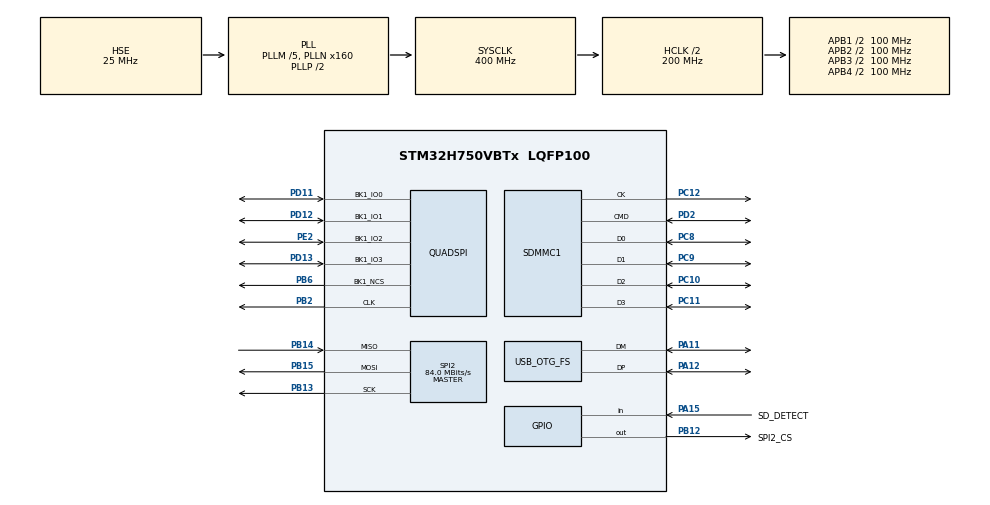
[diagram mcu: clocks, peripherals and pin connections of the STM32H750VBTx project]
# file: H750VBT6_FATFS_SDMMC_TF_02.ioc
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CORTEX_M7.AccessPermission-Cortex_Memory_Protection_Unit_Region0_Settings=MPU_REGION_FULL_ACCESS
CORTEX_M7.AccessPermission-Cortex_Memory_Protection_Unit_Region1_Settings=MPU_REGION_FULL_ACCESS
CORTEX_M7.AccessPermission-Cortex_Memory_Protection_Unit_Region2_Settings=MPU_REGION_FULL_ACCESS
CORTEX_M7.AccessPermission-Cortex_Memory_Protection_Unit_Region3_Settings=MPU_REGION_FULL_ACCESS
CORTEX_M7.AccessPermission-Cortex_Memory_Protection_Unit_Region4_Settings=MPU_REGION_FULL_ACCESS
CORTEX_M7.AccessPermission-Cortex_Memory_Protection_Unit_Region5_Settings=MPU_REGION_FULL_ACCESS
CORTEX_M7.AccessPermission-Cortex_Memory_Protection_Unit_Region6_Settings=MPU_REGION_FULL_ACCESS
CORTEX_M7.BaseAddress-Cortex_Memory_Protection_Unit_Region0_Settings=0x24000000
CORTEX_M7.BaseAddress-Cortex_Memory_Protection_Unit_Region1_Settings=0x60000000
CORTEX_M7.BaseAddress-Cortex_Memory_Protection_Unit_Region2_Settings=0x30000000
CORTEX_M7.BaseAddress-Cortex_Memory_Protection_Unit_Region3_Settings=0x30020000
CORTEX_M7.BaseAddress-Cortex_Memory_Protection_Unit_Region4_Settings=0x30040000
CORTEX_M7.BaseAddress-Cortex_Memory_Protection_Unit_Region5_Settings=0x38000000
CORTEX_M7.BaseAddress-Cortex_Memory_Protection_Unit_Region6_Settings=0x90000000
CORTEX_M7.CPU_DCache=Enabled
CORTEX_M7.CPU_ICache=Enabled
CORTEX_M7.Enable-Cortex_Memory_Protection_Unit_Region0_Settings=MPU_REGION_ENABLE
CORTEX_M7.Enable-Cortex_Memory_Protection_Unit_Region1_Settings=MPU_REGION_ENABLE
CORTEX_M7.Enable-Cortex_Memory_Protection_Unit_Region2_Settings=MPU_REGION_ENABLE
CORTEX_M7.Enable-Cortex_Memory_Protection_Unit_Region3_Settings=MPU_REGION_ENABLE
CORTEX_M7.Enable-Cortex_Memory_Protection_Unit_Region4_Settings=MPU_REGION_ENABLE
CORTEX_M7.Enable-Cortex_Memory_Protection_Unit_Region5_Settings=MPU_REGION_ENABLE
CORTEX_M7.Enable-Cortex_Memory_Protection_Unit_Region6_Settings=MPU_REGION_ENABLE
CORTEX_M7.IsBufferable-Cortex_Memory_Protection_Unit_Region0_Settings=MPU_ACCESS_BUFFERABLE
CORTEX_M7.IsBufferable-Cortex_Memory_Protection_Unit_Region1_Settings=MPU_ACCESS_BUFFERABLE
CORTEX_M7.IsBufferable-Cortex_Memory_Protection_Unit_Region6_Settings=MPU_ACCESS_BUFFERABLE
CORTEX_M7.IsCacheable-Cortex_Memory_Protection_Unit_Region0_Settings=MPU_ACCESS_CACHEABLE
CORTEX_M7.IsCacheable-Cortex_Memory_Protection_Unit_Region2_Settings=MPU_ACCESS_CACHEABLE
CORTEX_M7.IsCacheable-Cortex_Memory_Protection_Unit_Region3_Settings=MPU_ACCESS_CACHEABLE
CORTEX_M7.IsCacheable-Cortex_Memory_Protection_Unit_Region4_Settings=MPU_ACCESS_CACHEABLE
CORTEX_M7.IsCacheable-Cortex_Memory_Protection_Unit_Region5_Settings=MPU_ACCESS_CACHEABLE
CORTEX_M7.IsCacheable-Cortex_Memory_Protection_Unit_Region6_Settings=MPU_ACCESS_CACHEABLE
CORTEX_M7.MPU_Control=MPU_PRIVILEGED_DEFAULT
CORTEX_M7.Size-Cortex_Memory_Protection_Unit_Region0_Settings=MPU_REGION_SIZE_512KB
CORTEX_M7.Size-Cortex_Memory_Protection_Unit_Region1_Settings=MPU_REGION_SIZE_256MB
CORTEX_M7.Size-Cortex_Memory_Protection_Unit_Region2_Settings=MPU_REGION_SIZE_128KB
CORTEX_M7.Size-Cortex_Memory_Protection_Unit_Region3_Settings=MPU_REGION_SIZE_128KB
CORTEX_M7.Size-Cortex_Memory_Protection_Unit_Region4_Settings=MPU_REGION_SIZE_32KB
CORTEX_M7.Size-Cortex_Memory_Protection_Unit_Region5_Settings=MPU_REGION_SIZE_64KB
CORTEX_M7.Size-Cortex_Memory_Protection_Unit_Region6_Settings=MPU_REGION_SIZE_8MB
CORTEX_M7.TypeExtField-Cortex_Memory_Protection_Unit_Region0_Settings=MPU_TEX_LEVEL1
CORTEX_M7.TypeExtField-Cortex_Memory_Protection_Unit_Region6_Settings=MPU_TEX_LEVEL1
Dma.Request0=SPI2_RX
Dma.Request1=SPI2_TX
Dma.SPI2_RX.0.Direction=DMA_PERIPH_TO_MEMORY
Dma.SPI2_RX.0.EventEnable=DISABLE
Dma.SPI2_RX.0.FIFOMode=DMA_FIFOMODE_DISABLE
Dma.SPI2_RX.0.Instance=DMA1_Stream0
Dma.SPI2_RX.0.MemDataAlignment=DMA_MDATAALIGN_BYTE
Dma.SPI2_RX.0.MemInc=DMA_MINC_ENABLE
Dma.SPI2_RX.0.Mode=DMA_NORMAL
Dma.SPI2_RX.0.PeriphDataAlignment=DMA_PDATAALIGN_BYTE
Dma.SPI2_RX.0.PeriphInc=DMA_PINC_DISABLE
Dma.SPI2_RX.0.Polarity=HAL_DMAMUX_REQ_GEN_RISING
Dma.SPI2_RX.0.Priority=DMA_PRIORITY_VERY_HIGH
Dma.SPI2_RX.0.RequestNumber=1
Dma.SPI2_RX.0.SignalID=NONE
Dma.SPI2_RX.0.SyncEnable=DISABLE
Dma.SPI2_RX.0.SyncPolarity=HAL_DMAMUX_SYNC_NO_EVENT
Dma.SPI2_RX.0.SyncRequestNumber=1
Dma.SPI2_RX.0.SyncSignalID=NONE
Dma.SPI2_TX.1.Direction=DMA_MEMORY_TO_PERIPH
Dma.SPI2_TX.1.EventEnable=DISABLE
Dma.SPI2_TX.1.FIFOMode=DMA_FIFOMODE_DISABLE
Dma.SPI2_TX.1.Instance=DMA1_Stream1
Dma.SPI2_TX.1.MemDataAlignment=DMA_MDATAALIGN_BYTE
Dma.SPI2_TX.1.MemInc=DMA_MINC_ENABLE
Dma.SPI2_TX.1.Mode=DMA_NORMAL
Dma.SPI2_TX.1.PeriphDataAlignment=DMA_PDATAALIGN_BYTE
Dma.SPI2_TX.1.PeriphInc=DMA_PINC_DISABLE
Dma.SPI2_TX.1.Polarity=HAL_DMAMUX_REQ_GEN_RISING
Dma.SPI2_TX.1.Priority=DMA_PRIORITY_VERY_HIGH
Dma.SPI2_TX.1.RequestNumber=1
Dma.SPI2_TX.1.SignalID=NONE
Dma.SPI2_TX.1.SyncEnable=DISABLE
Dma.SPI2_TX.1.SyncPolarity=HAL_DMAMUX_SYNC_NO_EVENT
Dma.SPI2_TX.1.SyncRequestNumber=1
Dma.SPI2_TX.1.SyncSignalID=NONE
FATFS.BSP.number=1
FATFS._CODE_PAGE=936
FATFS._USE_LFN=2
FATFS._USE_MUTEX=0
FATFS0.BSP.STBoard=false
FATFS0.BSP.api=Unknown
FATFS0.BSP.instance=PA15 (JTDI)
FATFS0.BSP.ip=GPIO
FATFS0.BSP.mode=Input
FATFS0.BSP.name=Detect_SDIO
FATFS0.BSP.solution=PA15 (JTDI)
FREERTOS.INCLUDE_vTaskDelayUntil=1
FREERTOS.Tasks01=defaultTask,24,512,StartDefaultTask,Default,NULL,Dynamic,NULL,NULL
FREERTOS.configGENERATE_RUN_TIME_STATS=1
FREERTOS.configMAX_TASK_NAME_LEN=32
FREERTOS.configTOTAL_HEAP_SIZE=65536
FREERTOS.configUSE_NEWLIB_REENTRANT=1
FREERTOS.configUSE_STATS_FORMATTING_FUNCTIONS=1
FREERTOS.copyHeapFile=0
Mcu.Family=STM32H7
Mcu.Name=STM32H750VBTx
Mcu.Package=LQFP100
Mcu.UserConstants=QSPI_FLASH_SIZE_2N_OFFSET,0
NVIC.DMA1_Stream0_IRQn=true\:5\:0\:false\:false\:true\:true\:false\:true\:true
NVIC.DMA1_Stream1_IRQn=true\:5\:0\:false\:false\:true\:true\:false\:true\:true
NVIC.OTG_FS_IRQn=true\:5\:0\:false\:false\:true\:true\:false\:true\:true
NVIC.PriorityGroup=NVIC_PRIORITYGROUP_4
NVIC.SDMMC1_IRQn=true\:5\:0\:false\:false\:true\:true\:true\:true\:true
NVIC.SPI2_IRQn=true\:5\:0\:false\:false\:true\:true\:false\:true\:true
NVIC.TIM3_IRQn=true\:14\:0\:true\:false\:true\:true\:true\:true\:true
NVIC.TIM6_DAC_IRQn=true\:15\:0\:true\:false\:true\:false\:true\:true\:true
NVIC.TIM7_IRQn=true\:0\:0\:true\:false\:true\:false\:true\:true\:true
NVIC.TimeBase=TIM6_DAC_IRQn
NVIC.TimeBaseIP=TIM6
PA11.GPIO_Speed=GPIO_SPEED_FREQ_VERY_HIGH
PA11.Mode=Device_Only
PA11.Signal=USB_OTG_FS_DM
PA12.GPIO_Speed=GPIO_SPEED_FREQ_VERY_HIGH
PA12.Mode=Device_Only
PA12.Signal=USB_OTG_FS_DP
PA13\ (JTMS/SWDIO).Mode=Serial_Wire
PA13\ (JTMS/SWDIO).Signal=DEBUG_JTMS-SWDIO
PA14\ (JTCK/SWCLK).Mode=Serial_Wire
PA14\ (JTCK/SWCLK).Signal=DEBUG_JTCK-SWCLK
PA15\ (JTDI).GPIO_Label=SD_DETECT
PA15\ (JTDI).Signal=GPIO_Input
PB12.GPIO_Label=SPI2_CS
PB12.GPIO_ModeDefaultOutputPP=GPIO_MODE_OUTPUT_OD
PB12.GPIO_PuPd=GPIO_NOPULL
PB12.GPIO_Speed=GPIO_SPEED_FREQ_VERY_HIGH
PB12.PinState=GPIO_PIN_SET
PB12.Signal=GPIO_Output
PB13.GPIO_Speed=GPIO_SPEED_FREQ_VERY_HIGH
PB13.Mode=Full_Duplex_Master
PB13.Signal=SPI2_SCK
PB14.GPIO_Speed=GPIO_SPEED_FREQ_VERY_HIGH
PB14.Mode=Full_Duplex_Master
PB14.Signal=SPI2_MISO
PB15.GPIO_Speed=GPIO_SPEED_FREQ_VERY_HIGH
PB15.Mode=Full_Duplex_Master
PB15.Signal=SPI2_MOSI
PB2.Mode=Single Bank 1
PB2.Signal=QUADSPI_CLK
PB6.Mode=Single Bank 1
PB6.Signal=QUADSPI_BK1_NCS
PC10.Mode=SD_4_bits_Wide_bus
PC10.Signal=SDMMC1_D2
PC11.Mode=SD_4_bits_Wide_bus
PC11.Signal=SDMMC1_D3
PC12.Mode=SD_4_bits_Wide_bus
PC12.Signal=SDMMC1_CK
PC8.Mode=SD_4_bits_Wide_bus
PC8.Signal=SDMMC1_D0
PC9.Mode=SD_4_bits_Wide_bus
PC9.Signal=SDMMC1_D1
PD11.Mode=Single Bank 1
PD11.Signal=QUADSPI_BK1_IO0
PD12.Mode=Single Bank 1
PD12.Signal=QUADSPI_BK1_IO1
PD13.Mode=Single Bank 1
PD13.Signal=QUADSPI_BK1_IO3
PD2.Mode=SD_4_bits_Wide_bus
PD2.Signal=SDMMC1_CMD
PE2.Mode=Single Bank 1
PE2.Signal=QUADSPI_BK1_IO2
PH0-OSC_IN\ (PH0).Mode=HSE-External-Oscillator
PH0-OSC_IN\ (PH0).Signal=RCC_OSC_IN
PH1-OSC_OUT\ (PH1).Mode=HSE-External-Oscillator
PH1-OSC_OUT\ (PH1).Signal=RCC_OSC_OUT
ProjectManager.HeapSize=0x1000
ProjectManager.StackSize=0x1000
ProjectManager.TargetToolchain=STM32CubeIDE
QUADSPI.ChipSelectHighTime=QSPI_CS_HIGH_TIME_2_CYCLE
QUADSPI.ClockPrescaler=1
QUADSPI.FifoThreshold=32
QUADSPI.FlashSize=QSPI_FLASH_SIZE_2N_OFFSET
QUADSPI.SampleShifting=QSPI_SAMPLE_SHIFTING_HALFCYCLE
RCC.ADCFreq_Value=168000000
RCC.APB1Freq_Value=100000000
RCC.APB2Freq_Value=100000000
RCC.APB3Freq_Value=100000000
RCC.APB4Freq_Value=100000000
RCC.CECCLockSelection=RCC_CECCLKSOURCE_LSI
RCC.CKPERSourceSelection=RCC_CLKPSOURCE_HSE
RCC.CSI_VALUE=4000000
RCC.CortexFreq_Value=400000000
RCC.Cortex_Div=SYSTICK_CLKSOURCE_HCLK
RCC.Cortex_DivARG=SystemCoreClock/1000
RCC.D1PPRE=RCC_APB3_DIV2
RCC.D2PPRE1=RCC_APB1_DIV2
RCC.D2PPRE2=RCC_APB2_DIV2
RCC.D3PPRE=RCC_APB4_DIV2
RCC.DFSDMCLockSelection=RCC_DFSDM1CLKSOURCE_D2PCLK1
RCC.DIVM1=5
RCC.DIVM2=25
RCC.DIVM3=25
RCC.DIVN1=160
RCC.DIVN2=504
RCC.DIVN3=160
RCC.DIVP1=2
RCC.DIVP2=3
RCC.DIVP3=2
RCC.DIVQ1=4
RCC.DIVQ2=2
RCC.DIVR1=2
RCC.DIVR2=2
RCC.DIVR3=25
RCC.DSICLockSelection=RCC_DSICLKSOURCE_PHY
RCC.DSIPHY_Div=8
RCC.DSITX_Div=4
RCC.DSI_PHY_VALUE=12288000
RCC.EXTERNAL_CLOCK_VALUE=12288000
RCC.FDCANCLockSelection=RCC_FDCANCLKSOURCE_PLL
RCC.FMCCLockSelection=RCC_FMCCLKSOURCE_D1HCLK
RCC.HCLKFreq_Value=200000000
RCC.HPRE=RCC_HCLK_DIV2
RCC.HSE_VALUE=25000000
RCC.HSIDiv=RCC_PLLSAIDIVR_1
RCC.HSI_VALUE=64000000
RCC.I2C123CLockSelection=RCC_I2C123CLKSOURCE_D2PCLK1
RCC.I2C4CLockSelection=RCC_I2C4CLKSOURCE_D3PCLK1
RCC.LPTIM1CLockSelection=RCC_LPTIM1CLKSOURCE_PLL3
RCC.LPTIM2CLockSelection=RCC_LPTIM2CLKSOURCE_D3PCLK1
RCC.LPTIM345CLockSelection=RCC_LPTIM345CLKSOURCE_PLL3
RCC.LPUART1CLockSelection=RCC_LPUART1CLKSOURCE_D3PCLK1
RCC.PLL1_VCI_Range-AdvancedSettings=RCC_PLL1VCIRANGE_0
RCC.PLL1_VCO_SEL-AdvancedSettings=RCC_PLL1VCOWIDE
RCC.PLLDSIDev=2
RCC.PLLDSIIDF=DSI_PLL_IN_DIV1
RCC.PLLDSIMult=2
RCC.PLLDSINDIV=20
RCC.PLLDSIODF=DSI_PLL_OUT_DIV1
RCC.PLLSourceVirtual=RCC_PLLSOURCE_HSE
RCC.RC48_VALUE=48000000
RCC.RCC_MCO1Source=RCC_MCO1SOURCE_HSI
RCC.RCC_MCO2Source=RCC_MCO2SOURCE_SYSCLK
RCC.RCC_MCODiv1=RCC_MCODIV_1
RCC.RCC_MCODiv2=RCC_MCODIV_1
RCC.RCC_RTC_Clock_Source_FROM_HSE=RCC_RTCCLKSOURCE_HSE_DIV2
RCC.RNGCLockSelection=RCC_RNGCLKSOURCE_HSI48
RCC.SAI1CLockSelection=RCC_SAI1CLKSOURCE_PLL
RCC.SAI23CLockSelection=RCC_SAI23CLKSOURCE_PLL
RCC.SAI4ACLockSelection=RCC_SAI4ACLKSOURCE_PLL
RCC.SAI4BCLockSelection=RCC_SAI4BCLKSOURCE_PLL
RCC.SPDIFCLockSelection=RCC_SPDIFRXCLKSOURCE_PLL
RCC.SPI123CLockSelection=RCC_SPI123CLKSOURCE_PLL2
RCC.SPI6CLockSelection=RCC_SPI6CLKSOURCE_D3PCLK1
RCC.SWPCLockSelection=RCC_SWPMI1CLKSOURCE_D2PCLK1
RCC.SYSCLKFreq_VALUE=400000000
RCC.SYSCLKSource=RCC_SYSCLKSOURCE_PLLCLK
RCC.Spi45ClockSelection=RCC_SPI45CLKSOURCE_D2PCLK1
RCC.USART16CLockSelection=RCC_USART16CLKSOURCE_D2PCLK2
RCC.USART234578CLockSelection=RCC_USART234578CLKSOURCE_D2PCLK1
RCC.USBCLockSelection=RCC_USBCLKSOURCE_HSI48
RCC.USBFreq_Value=48000000
SDMMC1.ClockDiv=4
SPI2.BaudRatePrescaler=SPI_BAUDRATEPRESCALER_2
SPI2.CalculateBaudRate=84.0 MBits/s
SPI2.DataSize=SPI_DATASIZE_8BIT
SPI2.Direction=SPI_DIRECTION_2LINES
SPI2.Mode=SPI_MODE_MASTER
SPI2.VirtualType=VM_MASTER
TIM3.AutoReloadPreload=TIM_AUTORELOAD_PRELOAD_ENABLE
TIM3.Channel-Output\ Compare1\ No\ Output=TIM_CHANNEL_1
TIM3.Channel-Output\ Compare2\ No\ Output=TIM_CHANNEL_2
TIM3.Channel-Output\ Compare3\ No\ Output=TIM_CHANNEL_3
TIM3.Channel-Output\ Compare4\ No\ Output=TIM_CHANNEL_4
TIM3.OC1Preload=DISABLE
TIM3.OCMode_1=TIM_OCMODE_TOGGLE
TIM3.OCMode_2=TIM_OCMODE_TIMING
TIM3.OCMode_3=TIM_OCMODE_TIMING
TIM3.OCMode_4=TIM_OCMODE_TIMING
TIM7.AutoReloadPreload=TIM_AUTORELOAD_PRELOAD_DISABLE
TIM7.Period=50- 1
TIM7.Prescaler=200 - 1
USB_DEVICE.APP_RX_DATA_SIZE-CDC_FS=2048
USB_DEVICE.APP_TX_DATA_SIZE-CDC_FS=2048
USB_DEVICE.CLASS_NAME_FS=CDC
USB_DEVICE.VirtualMode-CDC_FS=Cdc
USB_DEVICE.VirtualModeFS=Cdc_FS
USB_OTG_FS.VirtualMode=Device_Only
VP_FATFS_VS_SDIO.Mode=SDIO
VP_FREERTOS_VS_CMSIS_V2.Mode=CMSIS_V2
VP_SYS_VS_tim6.Mode=TIM6
VP_TIM3_VS_no_output1.Mode=Output Compare1 No Output
VP_TIM3_VS_no_output2.Mode=Output Compare2 No Output
VP_TIM3_VS_no_output3.Mode=Output Compare3 No Output
VP_TIM3_VS_no_output4.Mode=Output Compare4 No Output
VP_TIM7_VS_ClockSourceINT.Mode=Enable_Timer
VP_USB_DEVICE_VS_USB_DEVICE_CDC_FS.Mode=CDC_FS
board=custom

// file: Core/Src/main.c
/* USER CODE BEGIN Header */
/**
  ******************************************************************************
  * @file           : main.c
  * @brief          : Main program body
  ******************************************************************************
  * @attention
  *
  * <h2><center>&copy; Copyright (c) 2022 STMicroelectronics.
  * All rights reserved.</center></h2>
  *
  * This software component is licensed by ST under BSD 3-Clause license,
  * the "License"; You may not use this file except in compliance with the
  * License. You may obtain a copy of the License at:
  *                        opensource.org/licenses/BSD-3-Clause
  *
  ******************************************************************************
  */
/* USER CODE END Header */
#include "main.h"
#include "cmsis_os.h"
#include "dma.h"
#include "fatfs.h"
#include "sdmmc.h"
#include "spi.h"
#include "tim.h"
#include "usb_device.h"
#include "gpio.h"

/* USER CODE BEGIN Includes */
#include "usbd_cdc_if.h"
/* USER CODE END Includes */

void SystemClock_Config(void);
static void MPU_Config(void);
void MX_FREERTOS_Init(void);

int main(void)
{
  /* USER CODE BEGIN 1 */
  /* Operation interrupt vector table begin ----------------------------------*/
//#define INTERNAL_FLASH_BOOTLOADER_JUMP_TO_QSPI_FLASH_APP

#if defined(INTERNAL_FLASH_BOOTLOADER_JUMP_TO_QSPI_FLASH_APP)
	/** 将当前使用的内部flash里的中断向量表改为外部QSPI Flash里的中断向量�??
	  * Change the currently used interrupt vector table in the internal flash
	  * to the interrupt vector table in the external QSPI Flash
	  */
	SCB->VTOR = (uint32_t *)QSPI_BASE;
#endif

//#define COPY_VECTORTABLE_TO_DTCM

#if defined(COPY_VECTORTABLE_TO_DTCM)
#if defined(INTERNAL_FLASH_BOOTLOADER_JUMP_TO_QSPI_FLASH_APP)
	uint32_t *SouceAddr = (uint32_t *)QSPI_BASE;
#else
	uint32_t *SouceAddr = (uint32_t *)FLASH_BANK1_BASE;
#endif
	uint32_t *DestAddr = (uint32_t *)D1_DTCMRAM_BASE;
	memcpy(DestAddr, SouceAddr, 0x400);

	/** 设置当前的中断向量表�?? ITCM 里复制好的中断向量表副本
	  * Set the current interrupt vector table as a copy of the copied interrupt
	  * vector table in ITCM
	  */
	SCB->VTOR = D1_DTCMRAM_BASE;
#endif
  /* Operation interrupt vector table end ------------------------------------*/

  /* USER CODE END 1 */

  /* MPU Configuration--------------------------------------------------------*/
  MPU_Config();

  /* Enable I-Cache---------------------------------------------------------*/
  SCB_EnableICache();

  /* Enable D-Cache---------------------------------------------------------*/
  SCB_EnableDCache();

  /* MCU Configuration--------------------------------------------------------*/

  /* Reset of all peripherals, Initializes the Flash interface and the Systick. */
  HAL_Init();

  /* USER CODE BEGIN Init */
  USB_Status_Init();
  /* USER CODE END Init */

  /* Configure the system clock */
  SystemClock_Config();

  /* Initialize all configured peripherals */
  MX_GPIO_Init();
  MX_DMA_Init();
  MX_TIM3_Init();
  MX_TIM7_Init();
  MX_SPI2_Init();
  MX_SDMMC1_SD_Init();
  MX_FATFS_Init();

  /* Init scheduler */
  osKernelInitialize();  /* Call init function for freertos objects (in freertos.c) */
  MX_FREERTOS_Init();

  /* Start scheduler */
  osKernelStart();

  /* We should never get here as control is now taken by the scheduler */
  /* Infinite loop */
  while (1)
  {

  }
}

void SystemClock_Config(void)
{
  RCC_OscInitTypeDef RCC_OscInitStruct = {0};
  RCC_ClkInitTypeDef RCC_ClkInitStruct = {0};

  /** Supply configuration update enable
  */
  HAL_PWREx_ConfigSupply(PWR_LDO_SUPPLY);

  /** Configure the main internal regulator output voltage
  */
  __HAL_PWR_VOLTAGESCALING_CONFIG(PWR_REGULATOR_VOLTAGE_SCALE1);

  while(!__HAL_PWR_GET_FLAG(PWR_FLAG_VOSRDY)) {}

  /** Macro to configure the PLL clock source
  */
  __HAL_RCC_PLL_PLLSOURCE_CONFIG(RCC_PLLSOURCE_HSE);

  /** Initializes the RCC Oscillators according to the specified parameters
  * in the RCC_OscInitTypeDef structure.
  */
  RCC_OscInitStruct.OscillatorType = RCC_OSCILLATORTYPE_HSI48|RCC_OSCILLATORTYPE_HSE;
  RCC_OscInitStruct.HSEState = RCC_HSE_ON;
  RCC_OscInitStruct.HSI48State = RCC_HSI48_ON;
  RCC_OscInitStruct.PLL.PLLState = RCC_PLL_ON;
  RCC_OscInitStruct.PLL.PLLSource = RCC_PLLSOURCE_HSE;
  RCC_OscInitStruct.PLL.PLLM = 5;
  RCC_OscInitStruct.PLL.PLLN = 160;
  RCC_OscInitStruct.PLL.PLLP = 2;
  RCC_OscInitStruct.PLL.PLLQ = 4;
  RCC_OscInitStruct.PLL.PLLR = 2;
  RCC_OscInitStruct.PLL.PLLRGE = RCC_PLL1VCIRANGE_2;
  RCC_OscInitStruct.PLL.PLLVCOSEL = RCC_PLL1VCOWIDE;
  RCC_OscInitStruct.PLL.PLLFRACN = 0;
  if (HAL_RCC_OscConfig(&RCC_OscInitStruct) != HAL_OK)
  {
    Error_Handler();
  }

  /** Initializes the CPU, AHB and APB buses clocks
  */
  RCC_ClkInitStruct.ClockType = RCC_CLOCKTYPE_HCLK|RCC_CLOCKTYPE_SYSCLK
                              |RCC_CLOCKTYPE_PCLK1|RCC_CLOCKTYPE_PCLK2
                              |RCC_CLOCKTYPE_D3PCLK1|RCC_CLOCKTYPE_D1PCLK1;
  RCC_ClkInitStruct.SYSCLKSource = RCC_SYSCLKSOURCE_PLLCLK;
  RCC_ClkInitStruct.SYSCLKDivider = RCC_SYSCLK_DIV1;
  RCC_ClkInitStruct.AHBCLKDivider = RCC_HCLK_DIV2;
  RCC_ClkInitStruct.APB3CLKDivider = RCC_APB3_DIV2;
  RCC_ClkInitStruct.APB1CLKDivider = RCC_APB1_DIV2;
  RCC_ClkInitStruct.APB2CLKDivider = RCC_APB2_DIV2;
  RCC_ClkInitStruct.APB4CLKDivider = RCC_APB4_DIV2;

  if (HAL_RCC_ClockConfig(&RCC_ClkInitStruct, FLASH_LATENCY_2) != HAL_OK)
  {
    Error_Handler();
  }
}

/* USER CODE BEGIN 4 */
volatile uint8_t tim17_transmissionReceived = 0;
volatile uint32_t ulHighFrequencyTimerTicks = 0UL;  /* FreeRTOS variables for statistical CPU utilization */

void configureTimerForRunTimeStats(void) {
	ulHighFrequencyTimerTicks = 0UL;
}

unsigned long getRunTimeCounterValue(void) {
	return ulHighFrequencyTimerTicks;
}

void _Error_Handler(const char * file, uint32_t line)
{
  /* USER CODE BEGIN Error_Handler_Debug */
  /* User can add his own implementation to report the HAL error return state */
  __disable_irq();
  while (1)
  {
  }
  /* USER CODE END Error_Handler_Debug */
}
/* USER CODE END 4 */

/* MPU Configuration */

void MPU_Config(void)
{
  MPU_Region_InitTypeDef MPU_InitStruct = {0};

  /* Disables the MPU */
  HAL_MPU_Disable();

  /** Initializes and configures the Region and the memory to be protected
  */
  MPU_InitStruct.Enable = MPU_REGION_ENABLE;
  MPU_InitStruct.Number = MPU_REGION_NUMBER0;
  MPU_InitStruct.BaseAddress = 0x24000000;
  MPU_InitStruct.Size = MPU_REGION_SIZE_512KB;
  MPU_InitStruct.SubRegionDisable = 0x0;
  MPU_InitStruct.TypeExtField = MPU_TEX_LEVEL1;
  MPU_InitStruct.AccessPermission = MPU_REGION_FULL_ACCESS;
  MPU_InitStruct.DisableExec = MPU_INSTRUCTION_ACCESS_ENABLE;
  MPU_InitStruct.IsShareable = MPU_ACCESS_NOT_SHAREABLE;
  MPU_InitStruct.IsCacheable = MPU_ACCESS_CACHEABLE;
  MPU_InitStruct.IsBufferable = MPU_ACCESS_BUFFERABLE;

  HAL_MPU_ConfigRegion(&MPU_InitStruct);

  /** Initializes and configures the Region and the memory to be protected
  */
  MPU_InitStruct.Number = MPU_REGION_NUMBER1;
  MPU_InitStruct.BaseAddress = 0x60000000;
  MPU_InitStruct.Size = MPU_REGION_SIZE_256MB;
  MPU_InitStruct.TypeExtField = MPU_TEX_LEVEL0;
  MPU_InitStruct.IsCacheable = MPU_ACCESS_NOT_CACHEABLE;

  HAL_MPU_ConfigRegion(&MPU_InitStruct);

  /** Initializes and configures the Region and the memory to be protected
  */
  MPU_InitStruct.Number = MPU_REGION_NUMBER2;
  MPU_InitStruct.BaseAddress = 0x30000000;
  MPU_InitStruct.Size = MPU_REGION_SIZE_128KB;
  MPU_InitStruct.IsCacheable = MPU_ACCESS_CACHEABLE;
  MPU_InitStruct.IsBufferable = MPU_ACCESS_NOT_BUFFERABLE;

  HAL_MPU_ConfigRegion(&MPU_InitStruct);

  /** Initializes and configures the Region and the memory to be protected
  */
  MPU_InitStruct.Number = MPU_REGION_NUMBER3;
  MPU_InitStruct.BaseAddress = 0x30020000;

  HAL_MPU_ConfigRegion(&MPU_InitStruct);

  /** Initializes and configures the Region and the memory to be protected
  */
  MPU_InitStruct.Number = MPU_REGION_NUMBER4;
  MPU_InitStruct.BaseAddress = 0x30040000;
  MPU_InitStruct.Size = MPU_REGION_SIZE_32KB;

  HAL_MPU_ConfigRegion(&MPU_InitStruct);

  /** Initializes and configures the Region and the memory to be protected
  */
  MPU_InitStruct.Number = MPU_REGION_NUMBER5;
  MPU_InitStruct.BaseAddress = 0x38000000;
  MPU_InitStruct.Size = MPU_REGION_SIZE_64KB;

  HAL_MPU_ConfigRegion(&MPU_InitStruct);

  /** Initializes and configures the Region and the memory to be protected
  */
  MPU_InitStruct.Number = MPU_REGION_NUMBER6;
  MPU_InitStruct.BaseAddress = 0x90000000;
  MPU_InitStruct.Size = MPU_REGION_SIZE_8MB;
  MPU_InitStruct.TypeExtField = MPU_TEX_LEVEL1;
  MPU_InitStruct.IsBufferable = MPU_ACCESS_BUFFERABLE;

  HAL_MPU_ConfigRegion(&MPU_InitStruct);
  /* Enables the MPU */
  HAL_MPU_Enable(MPU_PRIVILEGED_DEFAULT);

}

void HAL_TIM_PeriodElapsedCallback(TIM_HandleTypeDef *htim)
{
  /* USER CODE BEGIN Callback 0 */
	if(htim->Instance == TIM7) {
		ulHighFrequencyTimerTicks++;
	}
  /* USER CODE END Callback 0 */
  if (htim->Instance == TIM6) {
    HAL_IncTick();
  }
}

void Error_Handler(void)
{
  __disable_irq();
  while (1)
  {
  }
}
